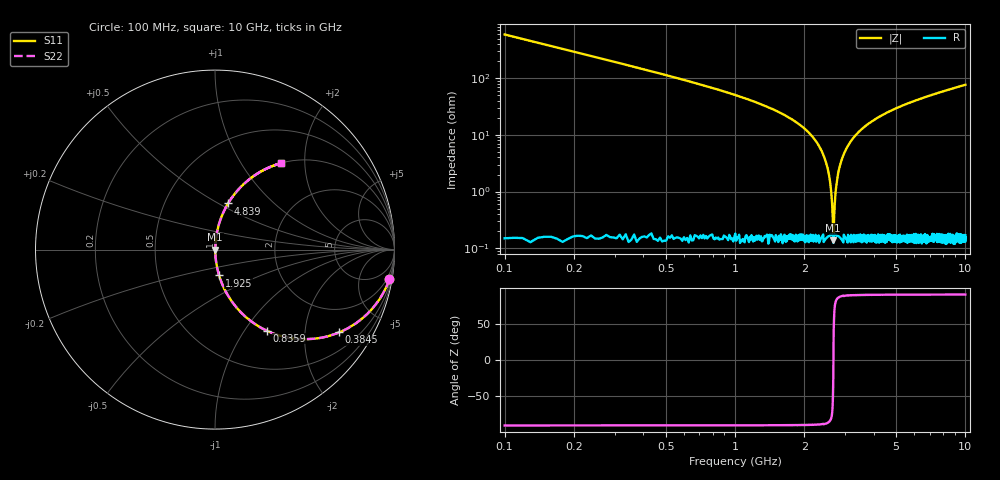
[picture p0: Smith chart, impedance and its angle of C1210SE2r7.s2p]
! AVX Thin Film Operation		Date: April 2012
! Description: Accu-P® Series, Thin Film, SMD, RF Capacitor
! Part Number: 12101J2R7QBTTR
!	100	MHz	-	10.05	GHz
!	Serial	Measurements
#	MHZ	S	MA	R	50
!	S11	S21	S12	S22
!	dB	Phase	dB	Phase	dB	Phase	dB	Phase
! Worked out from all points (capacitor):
!   1010 points, 100 MHz to 10 GHz, reference 50 ohm
!   read as one part in series: C = 2.7 pF near 149.1 MHz
!   lowest |Z| = 138 mohm at 2.671 GHz (marker M1)
!   series resonance near 2.674 GHz, so ESL is about 1.3 nH
!   S11 on the Smith chart (normalised r, x): 100 MHz: 1, -12; 384.5 MHz: 1.00, -3.00; 835.9 MHz: 1.00, -1.27; 1.925 GHz: 1.00, -0.30; 4.839 GHz: 1.00, +0.55; 10 GHz: 1.00, +1.53
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100  0.986 -9.6  0.167 80.3  0.167 80.3  0.986 -9.6
237.364  0.926 -22.1  0.376 67.9  0.376 67.9  0.926 -22.1
384.539  0.832 -33.7  0.554 56.3  0.554 56.3  0.832 -33.7
835.877  0.536 -57.4  0.843 32.4  0.843 32.4  0.536 -57.4
1758.176  0.187 -78.8  0.981 10.8  0.981 10.8  0.187 -78.8
1924.975  0.146 -81.0  0.988 8.4  0.988 8.4  0.146 -81.0
2248.761  0.076 -84.5  0.996 4.4  0.996 4.4  0.076 -84.5
2454.807  0.038 -85.6  0.998 2.2  0.998 2.2  0.038 -85.6
2562.735  0.019 -84.4  0.998 1.1  0.998 1.1  0.019 -84.4
2641.229  0.00567 -74.4  0.998 0.3  0.998 0.3  0.00567 -74.4
2670.664  0.00161 -21.5  0.999 0.0  0.999 0.0  0.00161 -21.5
2709.911  0.00602 75.3  0.998 -0.3  0.998 -0.3  0.00602 75.3
2749.158  0.012 82.3  0.998 -0.7  0.998 -0.7  0.012 82.3
2788.404  0.018 84.3  0.998 -1.1  0.998 -1.1  0.018 84.3
2896.333  0.035 85.5  0.998 -2.0  0.998 -2.0  0.035 85.5
3112.19  0.067 84.9  0.996 -3.8  0.996 -3.8  0.067 84.9
3406.541  0.107 83.1  0.993 -6.1  0.993 -6.1  0.107 83.1
4839.049  0.267 74.2  0.962 -15.5  0.962 -15.5  0.267 74.2
5054.906  0.287 73.0  0.957 -16.7  0.957 -16.7  0.287 73.0
6703.271  0.421 64.9  0.906 -24.9  0.906 -24.9  0.421 64.9
8351.635  0.525 58.2  0.85 -31.7  0.85 -31.7  0.525 58.2
10000  0.607 52.5  0.793 -37.4  0.793 -37.4  0.607 52.5
